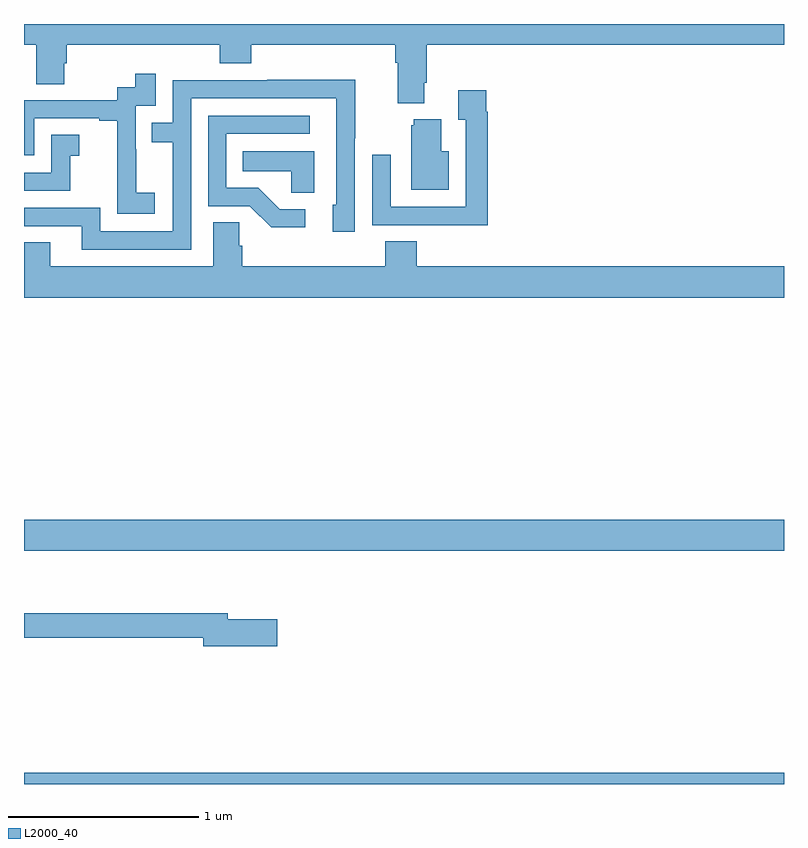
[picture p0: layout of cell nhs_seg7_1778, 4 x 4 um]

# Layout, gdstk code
import gdstk
lib = gdstk.Library(unit=1e-6, precision=1e-09)
def R(c, l, rs):  # rectangles x0, y0, x1, y1
    for r in rs: c.add(gdstk.rectangle(r[:2], r[2:], *l))
def P(c, l, *ps):  # polygons
    for p in ps: c.add(gdstk.Polygon(p, *l))
L2000_40 = (2000, 40)

nhs_seg7_1778 = lib.new_cell('nhs_seg7_1778')
R(nhs_seg7_1778, L2000_40, [(231,1054,235,1054.06), (231,1055.228,235,1055.392)])
P(nhs_seg7_1778, L2000_40, [(233.107,1057.69),(233.12,1057.69),(233.12,1057.892),(235,1057.892),(235,1058),(231,1058),(231,1057.892),(231.064,1057.892),(231.064,1057.684),(231.211,1057.684),(231.211,1057.794),(231.224,1057.794),(231.224,1057.892),(232.031,1057.892),(232.031,1057.793),(232.196,1057.793),(232.196,1057.892),(232.955,1057.892),(232.955,1057.796),(232.967,1057.796),(232.967,1057.583),(233.107,1057.583)],
  [(231.688,1057.111),(231.59,1057.111),(231.59,1057.34),(231.588,1057.34),(231.588,1057.569),(231.693,1057.569),(231.693,1057.738),(231.585,1057.738),(231.585,1057.668),(231.492,1057.668),(231.492,1057.599),(231,1057.599),(231,1057.308),(231.054,1057.308),(231.054,1057.503),(231.395,1057.503),(231.395,1057.491),(231.491,1057.491),(231.491,1057.207),(231.49,1057.207),(231.49,1057.001),(231.688,1057.001)],
  [(231.879,1057.608),(232.644,1057.608),(232.644,1057.05),(232.625,1057.05),(232.625,1056.906),(232.74,1056.906),(232.74,1057.399),(232.743,1057.399),(232.743,1057.706),(232.279,1057.706),(232.279,1057.704),(231.783,1057.704),(231.783,1057.479),(231.673,1057.479),(231.673,1057.378),(231.783,1057.378),(231.783,1056.909),(231.402,1056.909),(231.402,1057.032),(231,1057.032),(231,1056.936),(231.305,1056.936),(231.305,1056.813),(231.879,1056.813)],
  [(233.441,1057.538),(233.434,1057.538),(233.434,1057.651),(233.285,1057.651),(233.285,1057.495),(233.325,1057.495),(233.325,1057.038),(232.929,1057.038),(232.929,1057.312),(232.833,1057.312),(232.833,1056.942),(233.149,1056.942),(233.149,1056.941),(233.441,1056.941)],
  [(232.48,1057.026),(232.345,1057.026),(232.234,1057.137),(232.065,1057.137),(232.065,1057.422),(232.504,1057.422),(232.504,1057.518),(231.969,1057.518),(231.969,1057.041),(232.188,1057.041),(232.301,1056.929),(232.48,1056.929)],
  [(233.236,1057.33),(233.197,1057.33),(233.197,1057.498),(233.051,1057.498),(233.051,1057.467),(233.039,1057.467),(233.039,1057.127),(233.236,1057.127)],
  [(231.243,1057.307),(231.292,1057.307),(231.292,1057.417),(231.144,1057.417),(231.144,1057.218),(231,1057.218),(231,1057.122),(231.243,1057.122)],
  [(232.528,1057.33),(232.15,1057.33),(232.15,1057.226),(232.407,1057.226),(232.407,1057.111),(232.528,1057.111)],
  [(235,1056.724),(233.066,1056.724),(233.066,1056.857),(232.901,1056.857),(232.901,1056.724),(232.148,1056.724),(232.148,1056.833),(232.134,1056.833),(232.134,1056.956),(231.995,1056.956),(231.995,1056.724),(231.139,1056.724),(231.139,1056.851),(231,1056.851),(231,1056.56),(235,1056.56)],
  [(232.333,1054.866),(232.072,1054.866),(232.072,1054.9),(231,1054.9),(231,1054.771),(231.944,1054.771),(231.944,1054.724),(232.333,1054.724)])

lib.write_gds('nhs_seg7_1778.gds')
